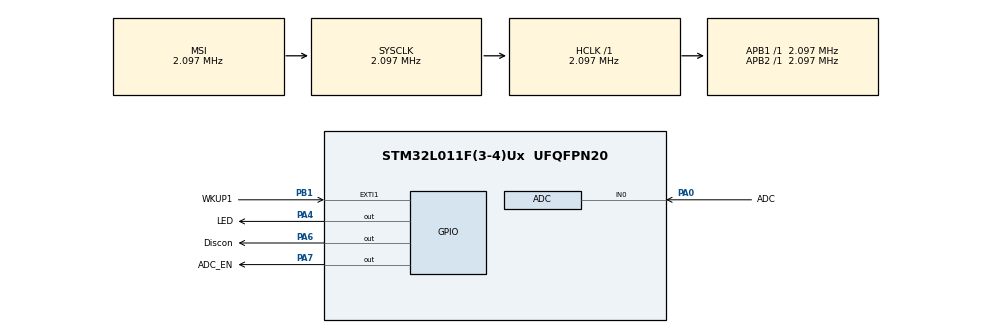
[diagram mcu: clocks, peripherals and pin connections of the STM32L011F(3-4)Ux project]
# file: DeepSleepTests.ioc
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Mcu.Family=STM32L0
Mcu.Name=STM32L011F(3-4)Ux
Mcu.Package=UFQFPN20
NVIC.EXTI0_1_IRQn=true\:1\:0\:true\:false\:true\:true\:true\:true
NVIC.LPTIM1_IRQn=true\:0\:0\:false\:false\:true\:true\:true\:true
PA0-CK_IN.GPIO_Label=ADC
PA0-CK_IN.Mode=IN0
PA0-CK_IN.Signal=ADC_IN0
PA13.Mode=Serial_Wire
PA13.Signal=SYS_SWDIO
PA14.Mode=Serial_Wire
PA14.Signal=SYS_SWCLK
PA4.GPIO_Label=LED
PA4.GPIO_ModeDefaultOutputPP=GPIO_MODE_OUTPUT_OD
PA4.GPIO_PuPd=GPIO_NOPULL
PA4.Signal=GPIO_Output
PA6.GPIO_Label=Discon
PA6.Signal=GPIO_Output
PA7.GPIO_Label=ADC_EN
PA7.GPIO_ModeDefaultOutputPP=GPIO_MODE_OUTPUT_OD
PA7.GPIO_PuPd=GPIO_NOPULL
PA7.Signal=GPIO_Output
PB1.GPIO_Label=WKUP1
PB1.Signal=GPXTI1
ProjectManager.HeapSize=0x200
ProjectManager.StackSize=0x400
ProjectManager.TargetToolchain=STM32CubeIDE
RCC.AHBFreq_Value=2097000
RCC.APB1Freq_Value=2097000
RCC.APB1TimFreq_Value=2097000
RCC.APB2Freq_Value=2097000
RCC.APB2TimFreq_Value=2097000
RCC.HCLKFreq_Value=2097000
RCC.HSE_VALUE=8000000
RCC.HSI16_VALUE=16000000
RCC.HSI_VALUE=16000000
RCC.LSE_VALUE=32768
RCC.LptimClockSelection=RCC_LPTIM1CLKSOURCE_LSI
RCC.MSI_VALUE=2097000
RCC.PWR_Regulator_Voltage_Scale=PWR_REGULATOR_VOLTAGE_SCALE3
RCC.SYSCLKFreq_VALUE=2097000
RCC.VCOOutputFreq_Value=48000000
RCC.VDD_VALUE=2.17
VP_LPTIM1_VS_LPTIM_counterModeInternalClock.Mode=Counts__internal_clock_event_00
VP_SYS_VS_LPOM.Mode=PowerOptimisation
board=custom

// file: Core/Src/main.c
/* USER CODE BEGIN Header */
/**
  ******************************************************************************
  * @file           : main.c
  * @brief          : Main program body
  ******************************************************************************
  * @attention
  *
  * Copyright (c) 2025 STMicroelectronics.
  * All rights reserved.
  *
  * This software is licensed under terms that can be found in the LICENSE file
  * in the root directory of this software component.
  * If no LICENSE file comes with this software, it is provided AS-IS.
  *
  ******************************************************************************
  */
/* USER CODE END Header */
#include "main.h"

/* USER CODE BEGIN PD */
#define ADC_MAX_VALUE       4095
#define MIN_PERIOD_MS       250  // Fastest blink
#define MAX_PERIOD_MS		1000 // Slowest blink
#define DUTY_CYCLE_PERCENT  10
#define ADC_CHECK_INTERVAL  3000 // Check ADC every in milliseconds
#define LPTIM_ARR_VALUE 	554 // Define the ARR value
#define LPTIM_TICK_MS       15   // The time step for the software counter
/* USER CODE END PD */

ADC_HandleTypeDef hadc;

LPTIM_HandleTypeDef hlptim1;

/* USER CODE BEGIN PV */

typedef enum {
    MODE_ACTIVE,
    MODE_STANDBY_HALT
} System_State_t;

volatile System_State_t System_Mode = MODE_ACTIVE;

volatile  uint16_t ADC_Value;

volatile uint32_t led_period_ms = MIN_PERIOD_MS;
volatile uint8_t  led_on = 0;

volatile uint8_t Enter_Sleep_Flag = 0;
//volatile uint8_t System_Halt_Flag = 0;

/* USER CODE END PV */

void SystemClock_Config(void);
static void MX_GPIO_Init(void);
static void MX_ADC_Init(void);
static void MX_LPTIM1_Init(void);

/* USER CODE BEGIN 0 */
/**
 * @brief Calculates a delay time based on the ADC value for variable blinking.
 */
static uint32_t Calculate_Period_ms(uint16_t adc_value)
{
    // Linearly map ADC → 250 .. 1000 ms
    return MIN_PERIOD_MS + (adc_value * (MAX_PERIOD_MS - MIN_PERIOD_MS)) / ADC_MAX_VALUE;
}

/**
 * @brief Performs ADC conversion using Polling and saves the result.
 */
static void Start_ADC_Sequence_Polling(void)
{
    // 1. Power ON ADC Sensor (PA7)
    HAL_GPIO_WritePin(ADC_EN_GPIO_Port, ADC_EN_Pin, GPIO_PIN_SET);

    // 2. ADC Polling Loop
    HAL_ADC_Start(&hadc);
    if (HAL_ADC_PollForConversion(&hadc, 100) == HAL_OK)
    {
        ADC_Value = HAL_ADC_GetValue(&hadc);
    }
    HAL_ADC_Stop(&hadc);

    // 3. Power OFF ADC (saves power, though not yet optimized for low power mode)
    HAL_GPIO_WritePin(ADC_EN_GPIO_Port, ADC_EN_Pin, GPIO_PIN_RESET);

}

/**
 * @brief Prepares peripherals and enters Standby Mode.
 */
static void Enter_Standby_Mode(void)
{
    // 1. Stop Peripherals
    HAL_LPTIM_Counter_Stop_IT(&hlptim1);
    HAL_ADC_DeInit(&hadc);

    // 2. Disable EXTI for WKUP1 pin (PA0)
    HAL_NVIC_DisableIRQ(EXTI0_1_IRQn);

    // 3. Clear Wakeup Flags (Mandatory)
    __HAL_PWR_CLEAR_FLAG(PWR_FLAG_WU); // Clear WUP flag
    __HAL_PWR_CLEAR_FLAG(PWR_FLAG_SB); // Clear Standby flag

    // 4. Enable Wakeup pin 1 (PA0 → rising edge)
    HAL_PWR_EnableWakeUpPin(PWR_WAKEUP_PIN1); // Enable WUP1 (e.g., connected to PA0)

    // 5. Enter Standby Mode (MCU performs a full reset upon wake)
    HAL_PWR_EnterSTANDBYMode();

    // The MCU will not return from this call; it resets when it wakes up.
}

/* USER CODE END 0 */

int main(void)
{

  /* USER CODE BEGIN 1 */
	__enable_irq();

  /* USER CODE END 1 */

  /* MCU Configuration--------------------------------------------------------*/

  /* Reset of all peripherals, Initializes the Flash interface and the Systick. */
  HAL_Init();

  /* Configure the system clock */
  SystemClock_Config();

  /* Initialize all configured peripherals */
  MX_GPIO_Init();
  MX_ADC_Init();
  MX_LPTIM1_Init();
  /* USER CODE BEGIN 2 */

  if (HAL_LPTIM_Counter_Start_IT(&hlptim1, LPTIM_ARR_VALUE) != HAL_OK) // ADD
  {
      Error_Handler();
  }

  // *** Standby Wakeup Check (CRITICAL) ***
  if (__HAL_PWR_GET_FLAG(PWR_FLAG_SB) != RESET)
  {
      // MCU woke up from Standby (full reset occurred)
      __HAL_PWR_CLEAR_FLAG(PWR_FLAG_SB);

      // Clear any pending EXTI lines that might have caused the reset
      // (Note: The specific WUP line must be handled depending on connection)
      __HAL_PWR_CLEAR_FLAG(PWR_FLAG_WU);

      // VITAL: Debounce/Hold time after wake-up
      HAL_Delay(100); // Wait 100ms for button to settle

      // Check if the pin is still HIGH (indicating a sustained press or a faulty release)
      if (HAL_GPIO_ReadPin(WKUP1_GPIO_Port, WKUP1_Pin) == GPIO_PIN_SET)
      {
          // Button is still held down, or bouncing.
          // Option A (Safest): Stay in an idle loop or re-enter Standby after a short time
          // Option B (Active mode): Ignore the button press for a grace period

          // For simple fix: Wait for the button to be released, or a maximum grace period
          uint32_t timeout = HAL_GetTick() + 2000; // 2 second grace period
          while (HAL_GPIO_ReadPin(WKUP1_GPIO_Port, WKUP1_Pin) == GPIO_PIN_SET && HAL_GetTick() < timeout)
          {
              // Do nothing, just wait for release
          }
      }

      // Check if the wakeup was intentional (e.g., from a button press)
      // Here, we assume any wakeup from Standby means we enter ACTIVE mode.
      System_Mode = MODE_ACTIVE;

  }

  // Ensure initial state based on current mode
  if (System_Mode == MODE_ACTIVE)
  {
      // Start peripherals required for ACTIVE mode
      Start_ADC_Sequence_Polling(); // Initial ADC read
      led_period_ms = Calculate_Period_ms(ADC_Value);
      HAL_LPTIM_Counter_Start_IT(&hlptim1, LPTIM_ARR_VALUE);
  } else {
      // If not active (should not happen after reset, but safety measure)
      HAL_LPTIM_Counter_Stop_IT(&hlptim1);
      HAL_GPIO_WritePin(LED_GPIO_Port, LED_Pin, GPIO_PIN_SET);
  }

  // Ensure control pins start low
  HAL_GPIO_WritePin(Discon_GPIO_Port, Discon_Pin, GPIO_PIN_RESET);
  HAL_GPIO_WritePin(ADC_EN_GPIO_Port, ADC_EN_Pin, GPIO_PIN_RESET);

  /* USER CODE END 2 */

  /* Infinite loop */
  /* USER CODE BEGIN WHILE */
  while (1)
  {
	if (System_Mode == MODE_STANDBY_HALT)
	{
		// **BUTTON-INITIATED STANDBY (Deepest Sleep)**
		Enter_Standby_Mode();
		// NOTE: The code will never reach here if Standby succeeds; it resets instead.
	}
	else if (Enter_Sleep_Flag)
	{
		// **LED-TIMING RELATED SLEEP (Short duration in Stop Mode)**
		// LPTIM is running, allowing the LPTIM to wake the MCU.
		HAL_PWR_EnterSTOPMode(PWR_MAINREGULATOR_ON, PWR_STOPENTRY_WFI);
		SystemClock_Config(); // Restore fast clock upon LPTIM wakeup
		Enter_Sleep_Flag = 0; // reset flag
	}
    /* USER CODE END WHILE */

  }
}

void SystemClock_Config(void)
{
  RCC_OscInitTypeDef RCC_OscInitStruct = {0};
  RCC_ClkInitTypeDef RCC_ClkInitStruct = {0};
  RCC_PeriphCLKInitTypeDef PeriphClkInit = {0};

  /** Configure the main internal regulator output voltage
  */
  __HAL_PWR_VOLTAGESCALING_CONFIG(PWR_REGULATOR_VOLTAGE_SCALE3);

  /** Initializes the RCC Oscillators according to the specified parameters
  * in the RCC_OscInitTypeDef structure.
  */
  RCC_OscInitStruct.OscillatorType = RCC_OSCILLATORTYPE_LSI|RCC_OSCILLATORTYPE_MSI;
  RCC_OscInitStruct.LSIState = RCC_LSI_ON;
  RCC_OscInitStruct.MSIState = RCC_MSI_ON;
  RCC_OscInitStruct.MSICalibrationValue = 0;
  RCC_OscInitStruct.MSIClockRange = RCC_MSIRANGE_5;
  RCC_OscInitStruct.PLL.PLLState = RCC_PLL_NONE;
  if (HAL_RCC_OscConfig(&RCC_OscInitStruct) != HAL_OK)
  {
    Error_Handler();
  }

  /** Initializes the CPU, AHB and APB buses clocks
  */
  RCC_ClkInitStruct.ClockType = RCC_CLOCKTYPE_HCLK|RCC_CLOCKTYPE_SYSCLK
                              |RCC_CLOCKTYPE_PCLK1|RCC_CLOCKTYPE_PCLK2;
  RCC_ClkInitStruct.SYSCLKSource = RCC_SYSCLKSOURCE_MSI;
  RCC_ClkInitStruct.AHBCLKDivider = RCC_SYSCLK_DIV1;
  RCC_ClkInitStruct.APB1CLKDivider = RCC_HCLK_DIV1;
  RCC_ClkInitStruct.APB2CLKDivider = RCC_HCLK_DIV1;

  if (HAL_RCC_ClockConfig(&RCC_ClkInitStruct, FLASH_LATENCY_0) != HAL_OK)
  {
    Error_Handler();
  }
  PeriphClkInit.PeriphClockSelection = RCC_PERIPHCLK_LPTIM1;
  PeriphClkInit.LptimClockSelection = RCC_LPTIM1CLKSOURCE_LSI;

  if (HAL_RCCEx_PeriphCLKConfig(&PeriphClkInit) != HAL_OK)
  {
    Error_Handler();
  }
}

static void MX_ADC_Init(void)
{

  ADC_ChannelConfTypeDef sConfig = {0};

  /** Configure the global features of the ADC (Clock, Resolution, Data Alignment and number of conversion)
  */
  hadc.Instance = ADC1;
  hadc.Init.OversamplingMode = DISABLE;
  hadc.Init.ClockPrescaler = ADC_CLOCK_SYNC_PCLK_DIV1;
  hadc.Init.Resolution = ADC_RESOLUTION_12B;
  hadc.Init.SamplingTime = ADC_SAMPLETIME_1CYCLE_5;
  hadc.Init.ScanConvMode = ADC_SCAN_DIRECTION_FORWARD;
  hadc.Init.DataAlign = ADC_DATAALIGN_RIGHT;
  hadc.Init.ContinuousConvMode = DISABLE;
  hadc.Init.DiscontinuousConvMode = DISABLE;
  hadc.Init.ExternalTrigConvEdge = ADC_EXTERNALTRIGCONVEDGE_NONE;
  hadc.Init.ExternalTrigConv = ADC_SOFTWARE_START;
  hadc.Init.DMAContinuousRequests = DISABLE;
  hadc.Init.EOCSelection = ADC_EOC_SINGLE_CONV;
  hadc.Init.Overrun = ADC_OVR_DATA_PRESERVED;
  hadc.Init.LowPowerAutoWait = DISABLE;
  hadc.Init.LowPowerFrequencyMode = ENABLE;
  hadc.Init.LowPowerAutoPowerOff = DISABLE;
  if (HAL_ADC_Init(&hadc) != HAL_OK)
  {
    Error_Handler();
  }

  /** Configure for the selected ADC regular channel to be converted.
  */
  sConfig.Channel = ADC_CHANNEL_0;
  sConfig.Rank = ADC_RANK_CHANNEL_NUMBER;
  if (HAL_ADC_ConfigChannel(&hadc, &sConfig) != HAL_OK)
  {
    Error_Handler();
  }

}

static void MX_LPTIM1_Init(void)
{

  hlptim1.Instance = LPTIM1;
  hlptim1.Init.Clock.Source = LPTIM_CLOCKSOURCE_APBCLOCK_LPOSC;
  hlptim1.Init.Clock.Prescaler = LPTIM_PRESCALER_DIV1;
  hlptim1.Init.Trigger.Source = LPTIM_TRIGSOURCE_SOFTWARE;
  hlptim1.Init.OutputPolarity = LPTIM_OUTPUTPOLARITY_HIGH;
  hlptim1.Init.UpdateMode = LPTIM_UPDATE_IMMEDIATE;
  hlptim1.Init.CounterSource = LPTIM_COUNTERSOURCE_INTERNAL;
  if (HAL_LPTIM_Init(&hlptim1) != HAL_OK)
  {
    Error_Handler();
  }
  /* USER CODE BEGIN LPTIM1_Init 2 */
  __HAL_LPTIM_ENABLE_IT(&hlptim1, LPTIM_IT_ARRM);
  HAL_NVIC_SetPriority(LPTIM1_IRQn, 0, 0);
  HAL_NVIC_EnableIRQ(LPTIM1_IRQn);
  /* USER CODE END LPTIM1_Init 2 */

}

static void MX_GPIO_Init(void)
{
  GPIO_InitTypeDef GPIO_InitStruct = {0};

  /* GPIO Ports Clock Enable */
  __HAL_RCC_GPIOA_CLK_ENABLE();
  __HAL_RCC_GPIOB_CLK_ENABLE();

  /*Configure GPIO pin Output Level */
  HAL_GPIO_WritePin(GPIOA, LED_Pin|Discon_Pin|ADC_EN_Pin, GPIO_PIN_RESET);

  /*Configure GPIO pins : LED_Pin ADC_EN_Pin */
  GPIO_InitStruct.Pin = LED_Pin|ADC_EN_Pin;
  GPIO_InitStruct.Mode = GPIO_MODE_OUTPUT_OD;
  GPIO_InitStruct.Pull = GPIO_NOPULL;
  GPIO_InitStruct.Speed = GPIO_SPEED_FREQ_LOW;
  HAL_GPIO_Init(GPIOA, &GPIO_InitStruct);

  /*Configure GPIO pin : Discon_Pin */
  GPIO_InitStruct.Pin = Discon_Pin;
  GPIO_InitStruct.Mode = GPIO_MODE_OUTPUT_PP;
  GPIO_InitStruct.Pull = GPIO_NOPULL;
  GPIO_InitStruct.Speed = GPIO_SPEED_FREQ_LOW;
  HAL_GPIO_Init(Discon_GPIO_Port, &GPIO_InitStruct);

  /*Configure GPIO pin : WKUP1_Pin */
  GPIO_InitStruct.Pin = WKUP1_Pin;
  GPIO_InitStruct.Mode = GPIO_MODE_IT_RISING;
  GPIO_InitStruct.Pull = GPIO_NOPULL;
  HAL_GPIO_Init(WKUP1_GPIO_Port, &GPIO_InitStruct);

  /* EXTI interrupt init*/
  HAL_NVIC_SetPriority(EXTI0_1_IRQn, 1, 0);
  HAL_NVIC_EnableIRQ(EXTI0_1_IRQn);

}

/* USER CODE BEGIN 4 */
/**
  * @brief  Period elapsed callback in non-blocking mode
  * @param  htim TIM handle
  * @retval None
  */
void HAL_LPTIM_AutoReloadMatchCallback(LPTIM_HandleTypeDef *hlptim1)
{
    if (hlptim1->Instance != LPTIM1) return;

    static uint32_t led_timer_ms = 0;
    led_timer_ms += LPTIM_TICK_MS;

    // Re-read these constants inside the function or define them locally if needed
    // Assuming led_period_ms is set in main loop
    const uint32_t on_time_ms = 15; // Fixed 15ms pulse
    uint32_t off_time = led_period_ms - on_time_ms;

    if (led_on) // Currently ON
    {
        // Check if ON_TIME has elapsed (5ms)
        // Since we are checking every 15ms, we check if the counter is past the 5ms mark.
        // The LED will be ON for the first 15ms interval, which is > 15ms,
        // ensuring the pulse is at least 5ms wide.
        if (led_timer_ms >= on_time_ms)
        {
            HAL_GPIO_WritePin(LED_GPIO_Port, LED_Pin, GPIO_PIN_SET); // LED OFF
            led_on = 0;
            led_timer_ms = 0;
            Enter_Sleep_Flag = 1;
        }
    }
    else // Currently OFF (waiting for the rest of the period)
    {
        // Check if OFF_TIME has elapsed
        if (led_timer_ms >= off_time)
        {
            Enter_Sleep_Flag = 0;
            HAL_GPIO_WritePin(LED_GPIO_Port, LED_Pin, GPIO_PIN_RESET); // LED ON
            led_on = 1;
            led_timer_ms = 0;
        }
    }

    static uint32_t adc_elapsed_ms = 0;
    adc_elapsed_ms += LPTIM_TICK_MS;
    if (adc_elapsed_ms >= ADC_CHECK_INTERVAL)
       {
           adc_elapsed_ms = 0;

           Start_ADC_Sequence_Polling();  // measure ADC
           led_period_ms = Calculate_Period_ms(ADC_Value);  // adjust blink speed
       }
}

/**
  * @brief Handler for the external switch (WKUP1_Pin) press event (PA10/EXTI).
  */
void HAL_GPIO_EXTI_Callback(uint16_t GPIO_Pin)
{
    if (GPIO_Pin == WKUP1_Pin)
    {
        static uint32_t last_press_tick = 0;
        uint32_t now = HAL_GetTick();

        // Debounce: ignore triggers within 150 ms of the last one
        if (now - last_press_tick < 500)
            return; // Ignore bounce

        last_press_tick = now;

        if (System_Mode == MODE_ACTIVE)
        {
            System_Mode = MODE_STANDBY_HALT;
            Enter_Sleep_Flag = 1;
        }
    }
}
/* USER CODE END 4 */

void Error_Handler(void)
{
  __disable_irq();
  while (1)
  {
  }
}
